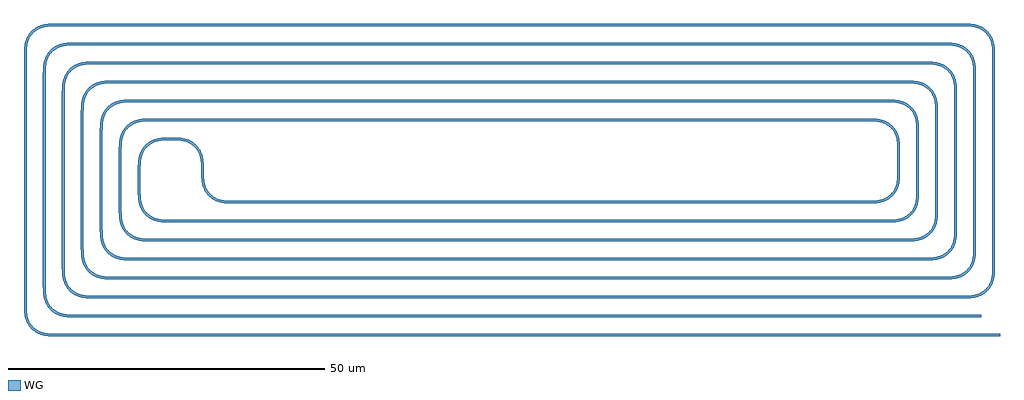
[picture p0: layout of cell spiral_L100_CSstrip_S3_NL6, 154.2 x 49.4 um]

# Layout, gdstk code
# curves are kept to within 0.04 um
from math import pi, radians
import gdstk
lib = gdstk.Library(unit=1e-6, precision=1e-09)
def R(c, l, rs):  # rectangles x0, y0, x1, y1
    for r in rs: c.add(gdstk.rectangle(r[:2], r[2:], *l))
def P(c, l, *ps):  # polygons
    for p in ps: c.add(gdstk.Polygon(p, *l))
WG = (3, 0)

bend_euler_rnone_a90_p0p = lib.new_cell('bend_euler_RNone_A90_P0p5_WNone_CSstrip_AMRVFalse')
P(bend_euler_rnone_a90_p0p, WG, [(0,-0.2),(0,0.2),(1.365,0.244),(2.282,0.414),(3.045,0.736),(3.734,1.266),(4.264,1.955),(4.586,2.718),(4.756,3.635),(4.8,5),(5.2,5),(5.154,3.595),(4.97,2.606),(4.61,1.755),(4.017,0.983),(3.245,0.39),(2.394,0.03),(1.405,-0.154)])

straight_l3_csstrip_wnon = lib.new_cell('straight_L3_CSstrip_WNone_N2')
R(straight_l3_csstrip_wnon, WG, [(0,-0.2,3,0.2)])

straight_l113_csstrip_wn = lib.new_cell('straight_L113_CSstrip_WNone_N2')
R(straight_l113_csstrip_wn, WG, [(0,-0.2,113,0.2)])

straight_l100_csstrip_wn = lib.new_cell('straight_L100_CSstrip_WNone_N2')
R(straight_l100_csstrip_wn, WG, [(0,-0.2,100,0.2)])

straight_l9_csstrip_wnon = lib.new_cell('straight_L9_CSstrip_WNone_N2')
R(straight_l9_csstrip_wnon, WG, [(0,-0.2,9,0.2)])

straight_l119_csstrip_wn = lib.new_cell('straight_L119_CSstrip_WNone_N2')
R(straight_l119_csstrip_wn, WG, [(0,-0.2,119,0.2)])

straight_l15_csstrip_wno = lib.new_cell('straight_L15_CSstrip_WNone_N2')
R(straight_l15_csstrip_wno, WG, [(0,-0.2,15,0.2)])

straight_l125_csstrip_wn = lib.new_cell('straight_L125_CSstrip_WNone_N2')
R(straight_l125_csstrip_wn, WG, [(0,-0.2,125,0.2)])

straight_l21_csstrip_wno = lib.new_cell('straight_L21_CSstrip_WNone_N2')
R(straight_l21_csstrip_wno, WG, [(0,-0.2,21,0.2)])

straight_l131_csstrip_wn = lib.new_cell('straight_L131_CSstrip_WNone_N2')
R(straight_l131_csstrip_wn, WG, [(0,-0.2,131,0.2)])

straight_l27_csstrip_wno = lib.new_cell('straight_L27_CSstrip_WNone_N2')
R(straight_l27_csstrip_wno, WG, [(0,-0.2,27,0.2)])

straight_l137_csstrip_wn = lib.new_cell('straight_L137_CSstrip_WNone_N2')
R(straight_l137_csstrip_wn, WG, [(0,-0.2,137,0.2)])

straight_l33_csstrip_wno = lib.new_cell('straight_L33_CSstrip_WNone_N2')
R(straight_l33_csstrip_wno, WG, [(0,-0.2,33,0.2)])

straight_l143_csstrip_wn = lib.new_cell('straight_L143_CSstrip_WNone_N2')
R(straight_l143_csstrip_wn, WG, [(0,-0.2,143,0.2)])

straight_l39_csstrip_wno = lib.new_cell('straight_L39_CSstrip_WNone_N2')
R(straight_l39_csstrip_wno, WG, [(0,-0.2,39,0.2)])

straight_l149_csstrip_wn = lib.new_cell('straight_L149_CSstrip_WNone_N2')
R(straight_l149_csstrip_wn, WG, [(0,-0.2,149,0.2)])

spiral_l100_csstrip_s3_n = lib.new_cell('spiral_L100_CSstrip_S3_NL6')
spiral_l100_csstrip_s3_n.add(gdstk.Reference(bend_euler_rnone_a90_p0p, (0,0), rotation=pi, x_reflection=True))
spiral_l100_csstrip_s3_n.add(gdstk.Reference(bend_euler_rnone_a90_p0p, (-5,5), rotation=pi/2))
spiral_l100_csstrip_s3_n.add(gdstk.Reference(bend_euler_rnone_a90_p0p, (-10,10), rotation=pi))
spiral_l100_csstrip_s3_n.add(gdstk.Reference(bend_euler_rnone_a90_p0p, (-15,2), rotation=3*pi/2))
spiral_l100_csstrip_s3_n.add(gdstk.Reference(straight_l3_csstrip_wnon, (-15,5), rotation=3*pi/2))
spiral_l100_csstrip_s3_n.add(gdstk.Reference(straight_l113_csstrip_wn, (-10,-3)))
spiral_l100_csstrip_s3_n.add(gdstk.Reference(straight_l100_csstrip_wn, (0,0)))
spiral_l100_csstrip_s3_n.add(gdstk.Reference(bend_euler_rnone_a90_p0p, (100,0)))
spiral_l100_csstrip_s3_n.add(gdstk.Reference(bend_euler_rnone_a90_p0p, (103,-3)))
spiral_l100_csstrip_s3_n.add(gdstk.Reference(bend_euler_rnone_a90_p0p, (105,8), rotation=pi/2))
spiral_l100_csstrip_s3_n.add(gdstk.Reference(bend_euler_rnone_a90_p0p, (108,11), rotation=pi/2))
spiral_l100_csstrip_s3_n.add(gdstk.Reference(bend_euler_rnone_a90_p0p, (-13,13), rotation=pi))
spiral_l100_csstrip_s3_n.add(gdstk.Reference(bend_euler_rnone_a90_p0p, (-16,16), rotation=pi))
spiral_l100_csstrip_s3_n.add(gdstk.Reference(bend_euler_rnone_a90_p0p, (-18,-1), rotation=3*pi/2))
spiral_l100_csstrip_s3_n.add(gdstk.Reference(bend_euler_rnone_a90_p0p, (-21,-4), rotation=3*pi/2))
spiral_l100_csstrip_s3_n.add(gdstk.Reference(straight_l3_csstrip_wnon, (105,5), rotation=pi/2))
spiral_l100_csstrip_s3_n.add(gdstk.Reference(straight_l9_csstrip_wnon, (108,2), rotation=pi/2))
spiral_l100_csstrip_s3_n.add(gdstk.Reference(straight_l113_csstrip_wn, (100,13), rotation=pi))
spiral_l100_csstrip_s3_n.add(gdstk.Reference(straight_l119_csstrip_wn, (103,16), rotation=pi))
spiral_l100_csstrip_s3_n.add(gdstk.Reference(straight_l9_csstrip_wnon, (-18,8), rotation=3*pi/2))
spiral_l100_csstrip_s3_n.add(gdstk.Reference(straight_l15_csstrip_wno, (-21,11), rotation=3*pi/2))
spiral_l100_csstrip_s3_n.add(gdstk.Reference(straight_l119_csstrip_wn, (-13,-6)))
spiral_l100_csstrip_s3_n.add(gdstk.Reference(straight_l125_csstrip_wn, (-16,-9)))
spiral_l100_csstrip_s3_n.add(gdstk.Reference(bend_euler_rnone_a90_p0p, (106,-6)))
spiral_l100_csstrip_s3_n.add(gdstk.Reference(bend_euler_rnone_a90_p0p, (109,-9)))
spiral_l100_csstrip_s3_n.add(gdstk.Reference(bend_euler_rnone_a90_p0p, (111,14), rotation=pi/2))
spiral_l100_csstrip_s3_n.add(gdstk.Reference(bend_euler_rnone_a90_p0p, (114,17), rotation=pi/2))
spiral_l100_csstrip_s3_n.add(gdstk.Reference(bend_euler_rnone_a90_p0p, (-19,19), rotation=pi))
spiral_l100_csstrip_s3_n.add(gdstk.Reference(bend_euler_rnone_a90_p0p, (-22,22), rotation=pi))
spiral_l100_csstrip_s3_n.add(gdstk.Reference(bend_euler_rnone_a90_p0p, (-24,-7), rotation=3*pi/2))
spiral_l100_csstrip_s3_n.add(gdstk.Reference(bend_euler_rnone_a90_p0p, (-27,-10), rotation=3*pi/2))
spiral_l100_csstrip_s3_n.add(gdstk.Reference(straight_l15_csstrip_wno, (111,-1), rotation=pi/2))
spiral_l100_csstrip_s3_n.add(gdstk.Reference(straight_l21_csstrip_wno, (114,-4), rotation=pi/2))
spiral_l100_csstrip_s3_n.add(gdstk.Reference(straight_l125_csstrip_wn, (106,19), rotation=pi))
spiral_l100_csstrip_s3_n.add(gdstk.Reference(straight_l131_csstrip_wn, (109,22), rotation=pi))
spiral_l100_csstrip_s3_n.add(gdstk.Reference(straight_l21_csstrip_wno, (-24,14), rotation=3*pi/2))
spiral_l100_csstrip_s3_n.add(gdstk.Reference(straight_l27_csstrip_wno, (-27,17), rotation=3*pi/2))
spiral_l100_csstrip_s3_n.add(gdstk.Reference(straight_l131_csstrip_wn, (-19,-12)))
spiral_l100_csstrip_s3_n.add(gdstk.Reference(straight_l137_csstrip_wn, (-22,-15)))
spiral_l100_csstrip_s3_n.add(gdstk.Reference(bend_euler_rnone_a90_p0p, (112,-12)))
spiral_l100_csstrip_s3_n.add(gdstk.Reference(bend_euler_rnone_a90_p0p, (115,-15)))
spiral_l100_csstrip_s3_n.add(gdstk.Reference(bend_euler_rnone_a90_p0p, (117,20), rotation=pi/2))
spiral_l100_csstrip_s3_n.add(gdstk.Reference(bend_euler_rnone_a90_p0p, (120,23), rotation=pi/2))
spiral_l100_csstrip_s3_n.add(gdstk.Reference(bend_euler_rnone_a90_p0p, (-25,25), rotation=pi))
spiral_l100_csstrip_s3_n.add(gdstk.Reference(bend_euler_rnone_a90_p0p, (-28,28), rotation=pi))
spiral_l100_csstrip_s3_n.add(gdstk.Reference(bend_euler_rnone_a90_p0p, (-30,-13), rotation=3*pi/2))
spiral_l100_csstrip_s3_n.add(gdstk.Reference(bend_euler_rnone_a90_p0p, (-33,-16), rotation=3*pi/2))
spiral_l100_csstrip_s3_n.add(gdstk.Reference(straight_l27_csstrip_wno, (117,-7), rotation=pi/2))
spiral_l100_csstrip_s3_n.add(gdstk.Reference(straight_l33_csstrip_wno, (120,-10), rotation=pi/2))
spiral_l100_csstrip_s3_n.add(gdstk.Reference(straight_l137_csstrip_wn, (112,25), rotation=pi))
spiral_l100_csstrip_s3_n.add(gdstk.Reference(straight_l143_csstrip_wn, (115,28), rotation=pi))
spiral_l100_csstrip_s3_n.add(gdstk.Reference(straight_l33_csstrip_wno, (-30,20), rotation=3*pi/2))
spiral_l100_csstrip_s3_n.add(gdstk.Reference(straight_l39_csstrip_wno, (-33,23), rotation=3*pi/2))
spiral_l100_csstrip_s3_n.add(gdstk.Reference(straight_l143_csstrip_wn, (-25,-18)))
spiral_l100_csstrip_s3_n.add(gdstk.Reference(straight_l149_csstrip_wn, (-28,-21)))

lib.write_gds('spiral_L100_CSstrip_S3_NL6.gds')
